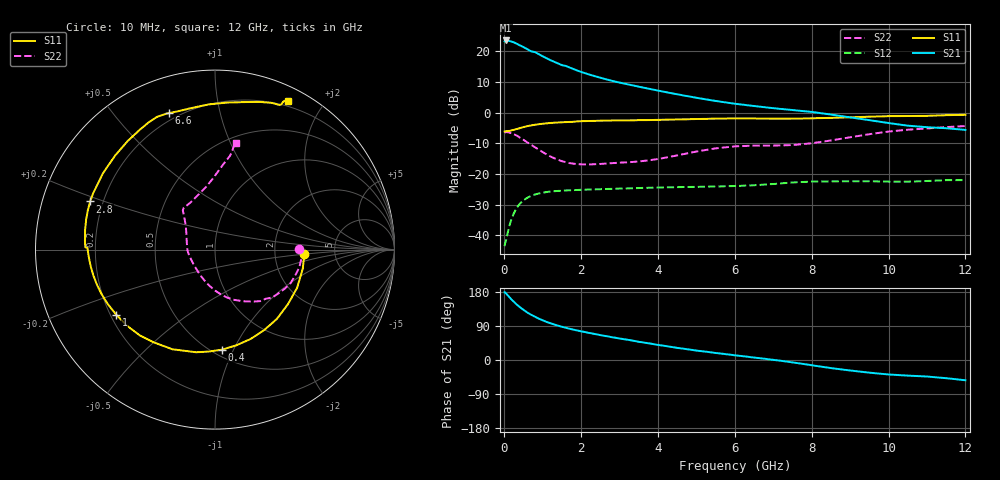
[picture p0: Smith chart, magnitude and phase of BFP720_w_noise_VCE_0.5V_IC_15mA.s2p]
! Infineon Technologies  Discrete & RF Semiconductors
! BFP720
! VCE =  0.5 V,  IC =  15 mA
! Common Emitter S-Parameters:  Aug 2012
# GHz  S  MA  R  50
!  f  S11  S21  S12  S22
! GHz  MAG  ANG  MAG  ANG  MAG  ANG  MAG  ANG
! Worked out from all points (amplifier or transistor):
!   105 points, 10 MHz to 12 GHz, reference 50 ohm
!   highest |S21| = 23.5 dB at 50 MHz (marker M1)
!   |S21| within 3 dB of that: start of sweep to 624.1 MHz
!   unconditionally stable (mu >= 1): start of sweep to 241.8 MHz; 2.061 GHz to end of sweep
!   at 300 MHz: K = 0.87, MSG = 27.1 dB, |S12| = -31.6 dB
!   at 3.6 GHz: K = 1.47, MAG = 12.3 dB, |S12| = -24.5 dB
!   at 12 GHz: K = 1.53, MAG = 3.9 dB, |S12| = -22.0 dB
!   lowest NFmin = 0.63 dB at 450 MHz
!   S11 on the Smith chart (normalised r, x): 10 MHz: 2.94, -0.21; 400 MHz: 0.56, -0.90; 1 GHz: 0.22, -0.29; 2.8 GHz: 0.15, +0.18; 6.6 GHz: 0.16, +0.71; 12 GHz: 0.14, +1.60
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0.01  0.4946 -3.1  14.52 178.7  0.0067 7.6  0.4668 0.2
0.02  0.4978 -5.0  14.94 178.7  0.0074 14.5  0.478 -2.2
0.05  0.5004 -12.0  14.99 175.4  0.0085 29.8  0.4838 -5.8
0.1  0.5046 -24.9  14.91 169.7  0.0117 44.4  0.4802 -11.8
0.2  0.5178 -48.2  14.34 158.5  0.0194 51.2  0.461 -23.8
0.3  0.5364 -68.6  13.51 148.7  0.0264 49.5  0.4306 -34.1
0.4  0.5589 -86.1  12.51 140.2  0.0325 45.5  0.3936 -44.1
0.5  0.5815 -100.4  11.7 132.6  0.0373 41.5  0.3618 -53.1
0.6  0.6038 -113.1  10.82 125.3  0.0411 37.6  0.3282 -61.3
0.7  0.6197 -123.6  9.982 119.4  0.0442 34.0  0.2995 -69.2
0.8  0.6355 -131.2  9.682 114.3  0.0465 30.9  0.2738 -76.3
1  0.6592 -146.7  8.284 104.8  0.0498 25.7  0.2284 -89.8
1.2  0.679 -158.6  7.18 97.1  0.0519 21.7  0.194 -102.9
1.5  0.698 -171.7  5.947 87.7  0.0537 17.3  0.1624 -121.1
2.1  0.7284 173.8  4.404 73.8  0.0557 12.1  0.1436 -151.5
2.8  0.7457 158.9  3.305 60.2  0.0575 8.5  0.1506 -173.6
4.1  0.7655 135.2  2.227 38.4  0.0606 3.5  0.1806 151.9
6.1  0.8061 112.7  1.374 11.3  0.0642 -1.4  0.2842 128.9
6.6  0.8027 108.6  1.262 5.3  0.0664 -1.9  0.2906 126.2
8.5  0.8226 85.0  0.932 -21.3  0.0761 -12.6  0.3525 98.2
10.5  0.8816 66.1  0.614 -41.2  0.0752 -21.3  0.5276 81.0
12  0.9239 63.7  0.524 -53.5  0.0795 -28.3  0.6064 78.9
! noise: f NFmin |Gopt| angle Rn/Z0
0.45  0.63  0.22  1  0.43
1.8  0.7  0.22  14  0.13
2.4  0.75  0.2  22  0.38
5.5  0.93  0.1  -30  0.18
10  1.11  0.44  -74  0.27
